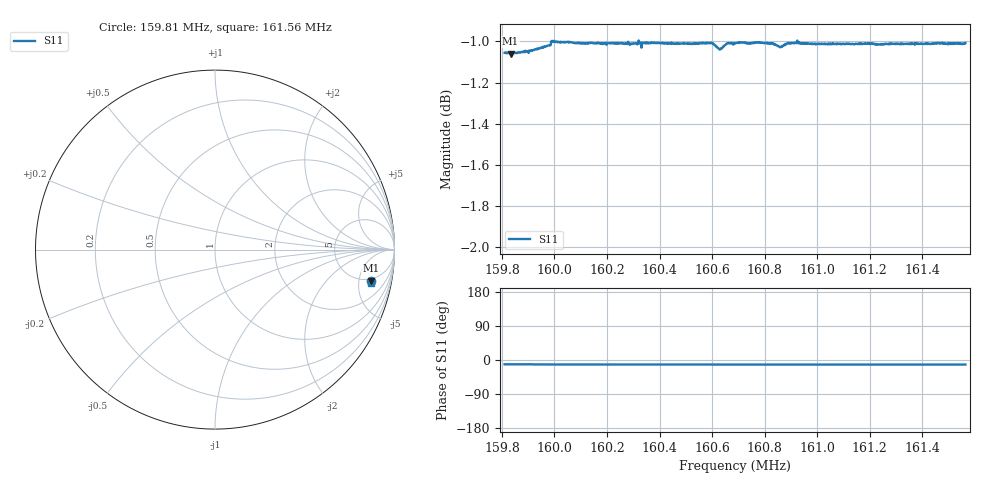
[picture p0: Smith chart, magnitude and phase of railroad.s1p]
! Calibrated averaged scanner-service zoom
# Hz S RI R 50
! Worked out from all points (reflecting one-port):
!   1001 points, 159.81 MHz to 161.56 MHz, reference 50 ohm
!   lowest |S11| = -1.1 dB at 159.83 MHz (marker M1), VSWR 16.43, Z = 228 - j365 ohm
!   phase of S11 starts at -11 deg and turns -1 deg over the sweep
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1.5981e8  0.8684 -0.1736
1.598328e8  0.8681 -0.1734
1.598644e8  0.8685 -0.1746
1.5991e8  0.8688 -0.1775
1.599767e8  0.8706 -0.1814
1.59996e8  0.8719 -0.1836
1.600294e8  0.8719 -0.1836
1.601154e8  0.871 -0.1836
1.602488e8  0.8711 -0.1838
1.602909e8  0.8709 -0.1838
1.603207e8  0.8725 -0.1844
1.604032e8  0.8712 -0.1842
1.604681e8  0.8709 -0.1848
1.605418e8  0.8708 -0.1842
1.605945e8  0.8712 -0.1845
1.606033e8  0.8711 -0.1842
1.606296e8  0.8685 -0.1811
1.606366e8  0.8689 -0.182
1.606594e8  0.8709 -0.1846
1.606875e8  0.8708 -0.1846
1.607752e8  0.8715 -0.185
1.608244e8  0.8708 -0.1852
1.608595e8  0.8683 -0.1877
1.608823e8  0.8705 -0.1859
1.609069e8  0.8709 -0.1854
1.611262e8  0.8704 -0.1856
1.613456e8  0.8704 -0.186
1.61565e8  0.8708 -0.1861
